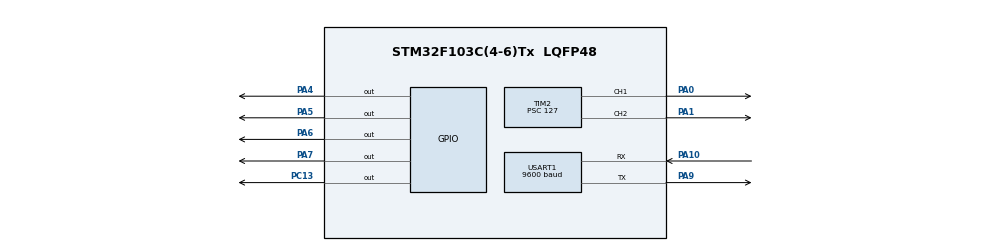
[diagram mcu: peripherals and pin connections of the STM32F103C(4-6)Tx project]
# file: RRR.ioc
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Mcu.Family=STM32F1
Mcu.Name=STM32F103C(4-6)Tx
Mcu.Package=LQFP48
NVIC.PriorityGroup=NVIC_PRIORITYGROUP_4
NVIC.TIM2_IRQn=true\:0\:0\:false\:false\:true\:true\:true
NVIC.USART1_IRQn=true\:0\:0\:false\:false\:true\:true\:true
PA0-WKUP.Signal=S_TIM2_CH1_ETR
PA1.Signal=S_TIM2_CH2
PA10.Mode=Asynchronous
PA10.Signal=USART1_RX
PA13.Mode=Serial_Wire
PA13.Signal=SYS_JTMS-SWDIO
PA14.Mode=Serial_Wire
PA14.Signal=SYS_JTCK-SWCLK
PA4.Signal=GPIO_Output
PA5.Signal=GPIO_Output
PA6.Signal=GPIO_Output
PA7.Signal=GPIO_Output
PA9.Mode=Asynchronous
PA9.Signal=USART1_TX
PC13-TAMPER-RTC.Signal=GPIO_Output
ProjectManager.HeapSize=0x200
ProjectManager.StackSize=0x400
ProjectManager.TargetToolchain=STM32CubeIDE
RCC.APB1Freq_Value=8000000
RCC.APB2Freq_Value=8000000
SH.S_TIM2_CH1_ETR.0=TIM2_CH1,PWM Generation1 CH1
SH.S_TIM2_CH2.0=TIM2_CH2,PWM Generation2 CH2
TIM2.Channel-PWM\ Generation1\ CH1=TIM_CHANNEL_1
TIM2.Channel-PWM\ Generation2\ CH2=TIM_CHANNEL_2
TIM2.Period=625
TIM2.Prescaler=127
USART1.BaudRate=9600
USART1.VirtualMode=VM_ASYNC
VP_TIM2_VS_ClockSourceINT.Mode=Internal
board=custom

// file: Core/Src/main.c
/* USER CODE BEGIN Header */
/**
  ******************************************************************************
  * @file           : main.c
  * @brief          : Main program body
  ******************************************************************************
  * @attention
  *
  * Copyright (c) 2022 STMicroelectronics.
  * All rights reserved.
  *
  * This software is licensed under terms that can be found in the LICENSE file
  * in the root directory of this software component.
  * If no LICENSE file comes with this software, it is provided AS-IS.
  *
  ******************************************************************************
  */
/* USER CODE END Header */
#include "main.h"

/* USER CODE BEGIN PM */
uint8_t rxData;
int speed1 = 0;
int speed2 = 0;
/* USER CODE END PM */

TIM_HandleTypeDef htim2;

UART_HandleTypeDef huart1;

void SystemClock_Config(void);
static void MX_GPIO_Init(void);
static void MX_USART1_UART_Init(void);
static void MX_TIM2_Init(void);
void forward(void);
void stop(void);
void back(void);
void right(void);
void left(void);

int main(void)
{

  /* MCU Configuration--------------------------------------------------------*/

  /* Reset of all peripherals, Initializes the Flash interface and the Systick. */
  HAL_Init();

  /* Configure the system clock */
  SystemClock_Config();

  /* Initialize all configured peripherals */
  MX_GPIO_Init();
  MX_USART1_UART_Init();
  MX_TIM2_Init();
  /* USER CODE BEGIN 2 */
  HAL_GPIO_WritePin(GPIOA,GPIO_PIN_4,0);
  HAL_GPIO_WritePin(GPIOA,GPIO_PIN_5,0);
  HAL_GPIO_WritePin(GPIOA,GPIO_PIN_6,0);
  HAL_GPIO_WritePin(GPIOA,GPIO_PIN_7,0);
  HAL_TIM_PWM_Start(&htim2, TIM_CHANNEL_2); // PA1
  HAL_TIM_PWM_Start(&htim2, TIM_CHANNEL_1); // PA0
  HAL_UART_Receive_IT(&huart1, &rxData, 1);
  /* USER CODE END 2 */

  /* Infinite loop */
  while (1)
  {

  }
}

void SystemClock_Config(void)
{
  RCC_OscInitTypeDef RCC_OscInitStruct = {0};
  RCC_ClkInitTypeDef RCC_ClkInitStruct = {0};

  /** Initializes the RCC Oscillators according to the specified parameters
  * in the RCC_OscInitTypeDef structure.
  */
  RCC_OscInitStruct.OscillatorType = RCC_OSCILLATORTYPE_HSI;
  RCC_OscInitStruct.HSIState = RCC_HSI_ON;
  RCC_OscInitStruct.HSICalibrationValue = RCC_HSICALIBRATION_DEFAULT;
  RCC_OscInitStruct.PLL.PLLState = RCC_PLL_NONE;
  if (HAL_RCC_OscConfig(&RCC_OscInitStruct) != HAL_OK)
  {
    Error_Handler();
  }
  /** Initializes the CPU, AHB and APB buses clocks
  */
  RCC_ClkInitStruct.ClockType = RCC_CLOCKTYPE_HCLK|RCC_CLOCKTYPE_SYSCLK
                              |RCC_CLOCKTYPE_PCLK1|RCC_CLOCKTYPE_PCLK2;
  RCC_ClkInitStruct.SYSCLKSource = RCC_SYSCLKSOURCE_HSI;
  RCC_ClkInitStruct.AHBCLKDivider = RCC_SYSCLK_DIV1;
  RCC_ClkInitStruct.APB1CLKDivider = RCC_HCLK_DIV1;
  RCC_ClkInitStruct.APB2CLKDivider = RCC_HCLK_DIV1;

  if (HAL_RCC_ClockConfig(&RCC_ClkInitStruct, FLASH_LATENCY_0) != HAL_OK)
  {
    Error_Handler();
  }
}

static void MX_TIM2_Init(void)
{

  TIM_ClockConfigTypeDef sClockSourceConfig = {0};
  TIM_MasterConfigTypeDef sMasterConfig = {0};
  TIM_OC_InitTypeDef sConfigOC = {0};

  htim2.Instance = TIM2;
  htim2.Init.Prescaler = 127;
  htim2.Init.CounterMode = TIM_COUNTERMODE_UP;
  htim2.Init.Period = 625;
  htim2.Init.ClockDivision = TIM_CLOCKDIVISION_DIV1;
  htim2.Init.AutoReloadPreload = TIM_AUTORELOAD_PRELOAD_DISABLE;
  if (HAL_TIM_Base_Init(&htim2) != HAL_OK)
  {
    Error_Handler();
  }
  sClockSourceConfig.ClockSource = TIM_CLOCKSOURCE_INTERNAL;
  if (HAL_TIM_ConfigClockSource(&htim2, &sClockSourceConfig) != HAL_OK)
  {
    Error_Handler();
  }
  if (HAL_TIM_PWM_Init(&htim2) != HAL_OK)
  {
    Error_Handler();
  }
  sMasterConfig.MasterOutputTrigger = TIM_TRGO_RESET;
  sMasterConfig.MasterSlaveMode = TIM_MASTERSLAVEMODE_DISABLE;
  if (HAL_TIMEx_MasterConfigSynchronization(&htim2, &sMasterConfig) != HAL_OK)
  {
    Error_Handler();
  }
  sConfigOC.OCMode = TIM_OCMODE_PWM1;
  sConfigOC.Pulse = 0;
  sConfigOC.OCPolarity = TIM_OCPOLARITY_HIGH;
  sConfigOC.OCFastMode = TIM_OCFAST_DISABLE;
  if (HAL_TIM_PWM_ConfigChannel(&htim2, &sConfigOC, TIM_CHANNEL_1) != HAL_OK)
  {
    Error_Handler();
  }
  if (HAL_TIM_PWM_ConfigChannel(&htim2, &sConfigOC, TIM_CHANNEL_2) != HAL_OK)
  {
    Error_Handler();
  }
  HAL_TIM_MspPostInit(&htim2);

}

static void MX_USART1_UART_Init(void)
{

  huart1.Instance = USART1;
  huart1.Init.BaudRate = 9600;
  huart1.Init.WordLength = UART_WORDLENGTH_8B;
  huart1.Init.StopBits = UART_STOPBITS_1;
  huart1.Init.Parity = UART_PARITY_NONE;
  huart1.Init.Mode = UART_MODE_TX_RX;
  huart1.Init.HwFlowCtl = UART_HWCONTROL_NONE;
  huart1.Init.OverSampling = UART_OVERSAMPLING_16;
  if (HAL_UART_Init(&huart1) != HAL_OK)
  {
    Error_Handler();
  }

}

static void MX_GPIO_Init(void)
{
  GPIO_InitTypeDef GPIO_InitStruct = {0};

  /* GPIO Ports Clock Enable */
  __HAL_RCC_GPIOC_CLK_ENABLE();
  __HAL_RCC_GPIOA_CLK_ENABLE();

  /*Configure GPIO pin Output Level */
  HAL_GPIO_WritePin(GPIOC, GPIO_PIN_13, GPIO_PIN_RESET);

  /*Configure GPIO pin Output Level */
  HAL_GPIO_WritePin(GPIOA, GPIO_PIN_4|GPIO_PIN_5|GPIO_PIN_6|GPIO_PIN_7, GPIO_PIN_RESET);

  /*Configure GPIO pin : PC13 */
  GPIO_InitStruct.Pin = GPIO_PIN_13;
  GPIO_InitStruct.Mode = GPIO_MODE_OUTPUT_PP;
  GPIO_InitStruct.Pull = GPIO_NOPULL;
  GPIO_InitStruct.Speed = GPIO_SPEED_FREQ_LOW;
  HAL_GPIO_Init(GPIOC, &GPIO_InitStruct);

  /*Configure GPIO pins : PA4 PA5 PA6 PA7 */
  GPIO_InitStruct.Pin = GPIO_PIN_4|GPIO_PIN_5|GPIO_PIN_6|GPIO_PIN_7;
  GPIO_InitStruct.Mode = GPIO_MODE_OUTPUT_PP;
  GPIO_InitStruct.Pull = GPIO_NOPULL;
  GPIO_InitStruct.Speed = GPIO_SPEED_FREQ_LOW;
  HAL_GPIO_Init(GPIOA, &GPIO_InitStruct);

}

/* USER CODE BEGIN 4 */
void HAL_UART_RxCpltCallback(UART_HandleTypeDef *huart)
{
  if(huart->Instance==USART1)
  {
    switch(rxData){
		case '1':// forward
			speed1 = 500;
			speed2 = 500;
			HAL_GPIO_WritePin(GPIOA,GPIO_PIN_4,0);
			HAL_GPIO_WritePin(GPIOA,GPIO_PIN_7,0);
			HAL_GPIO_WritePin(GPIOA,GPIO_PIN_5,1);
			HAL_GPIO_WritePin(GPIOA,GPIO_PIN_6,1);
			break;
		case '2':// back
			speed1 = 500;
			speed2 = 500;
			HAL_GPIO_WritePin(GPIOA,GPIO_PIN_5,0);
			HAL_GPIO_WritePin(GPIOA,GPIO_PIN_6,0);
		   	HAL_GPIO_WritePin(GPIOA,GPIO_PIN_4,1);
		   	HAL_GPIO_WritePin(GPIOA,GPIO_PIN_7,1);
			break;
		case '3':// right
			speed1 = 500;
			speed2 = 0;
			HAL_GPIO_WritePin(GPIOA,GPIO_PIN_5,0);
			HAL_GPIO_WritePin(GPIOA,GPIO_PIN_4,0);
			HAL_GPIO_WritePin(GPIOA,GPIO_PIN_7,0);
			HAL_GPIO_WritePin(GPIOA,GPIO_PIN_6,1);
			break;
		case '4'://left
			speed1 = 0;
			speed2 = 500;
			HAL_GPIO_WritePin(GPIOA,GPIO_PIN_4,0);
			HAL_GPIO_WritePin(GPIOA,GPIO_PIN_7,0);
			HAL_GPIO_WritePin(GPIOA,GPIO_PIN_6,0);
			HAL_GPIO_WritePin(GPIOA,GPIO_PIN_5,1);
			break;
		case '5' ://stop
			speed1 = 0;
			speed2 = 0;
			HAL_GPIO_WritePin(GPIOA,GPIO_PIN_4,0);
			HAL_GPIO_WritePin(GPIOA,GPIO_PIN_7,0);
			HAL_GPIO_WritePin(GPIOA,GPIO_PIN_5,0);
			HAL_GPIO_WritePin(GPIOA,GPIO_PIN_6,0);
			break;
    }
    	__HAL_TIM_SET_COMPARE(&htim2,TIM_CHANNEL_2,speed2);
    	__HAL_TIM_SET_COMPARE(&htim2,TIM_CHANNEL_1,speed1);
    	HAL_UART_Receive_IT(&huart1,&rxData,1);
    }

}

/* USER CODE END 4 */

void Error_Handler(void)
{
  __disable_irq();
  while (1)
  {
  }
}
